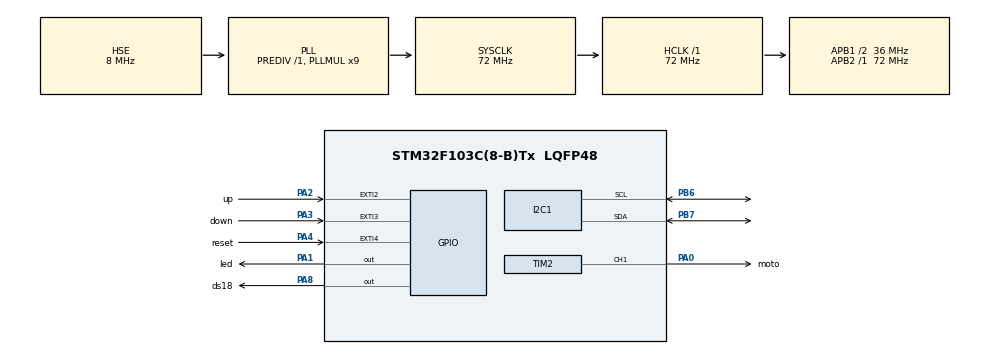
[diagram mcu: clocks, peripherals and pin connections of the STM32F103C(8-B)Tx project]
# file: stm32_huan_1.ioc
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Mcu.Family=STM32F1
Mcu.Name=STM32F103C(8-B)Tx
Mcu.Package=LQFP48
NVIC.EXTI2_IRQn=true\:0\:0\:false\:false\:true\:true\:true\:true
NVIC.EXTI3_IRQn=true\:0\:0\:false\:false\:true\:true\:true\:true
NVIC.EXTI4_IRQn=true\:0\:0\:false\:false\:true\:true\:true\:true
NVIC.PriorityGroup=NVIC_PRIORITYGROUP_4
PA0-WKUP.GPIO_Label=moto
PA0-WKUP.Signal=S_TIM2_CH1_ETR
PA1.GPIO_Label=led
PA1.Signal=GPIO_Output
PA13.Mode=Serial_Wire
PA13.Signal=SYS_JTMS-SWDIO
PA14.Mode=Serial_Wire
PA14.Signal=SYS_JTCK-SWCLK
PA2.GPIO_Label=up
PA2.Signal=GPXTI2
PA3.GPIO_Label=down
PA3.Signal=GPXTI3
PA4.GPIO_Label=reset
PA4.Signal=GPXTI4
PA8.GPIO_Label=ds18
PA8.Signal=GPIO_Output
PB6.Mode=I2C
PB6.Signal=I2C1_SCL
PB7.Mode=I2C
PB7.Signal=I2C1_SDA
PD0-OSC_IN.Mode=HSE-External-Oscillator
PD0-OSC_IN.Signal=RCC_OSC_IN
PD1-OSC_OUT.Mode=HSE-External-Oscillator
PD1-OSC_OUT.Signal=RCC_OSC_OUT
ProjectManager.HeapSize=0x200
ProjectManager.StackSize=0x400
ProjectManager.TargetToolchain=STM32CubeIDE
RCC.AHBFreq_Value=72000000
RCC.APB1CLKDivider=RCC_HCLK_DIV2
RCC.APB1Freq_Value=36000000
RCC.APB1TimFreq_Value=72000000
RCC.APB2Freq_Value=72000000
RCC.APB2TimFreq_Value=72000000
RCC.HCLKFreq_Value=72000000
RCC.PLLMUL=RCC_PLL_MUL9
RCC.PLLSourceVirtual=RCC_PLLSOURCE_HSE
RCC.SYSCLKFreq_VALUE=72000000
RCC.SYSCLKSource=RCC_SYSCLKSOURCE_PLLCLK
RCC.USBFreq_Value=72000000
SH.S_TIM2_CH1_ETR.0=TIM2_CH1,PWM Generation1 CH1
TIM1.Period=999
TIM1.Prescaler=71
TIM2.Channel-PWM\ Generation1\ CH1=TIM_CHANNEL_1
TIM2.Period=999
TIM2.Prescaler=71
VP_TIM1_VS_ClockSourceINT.Mode=Internal
board=custom

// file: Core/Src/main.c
#include "main.h"
#include"I2C_LCD.h"
//#include"ds18b20.h"
#include<stdio.h>

I2C_HandleTypeDef hi2c1;

TIM_HandleTypeDef htim1;
TIM_HandleTypeDef htim2;

void SystemClock_Config(void);
static void MX_GPIO_Init(void);
static void MX_I2C1_Init(void);
static void MX_TIM1_Init(void);
static void MX_TIM2_Init(void);
/* USER CODE BEGIN PFP */
void DWT_Delay_Init(void) {
    CoreDebug->DEMCR |= CoreDebug_DEMCR_TRCENA_Msk;
    DWT->CYCCNT = 0;
    DWT->CTRL |= DWT_CTRL_CYCCNTENA_Msk;
}

void DWT_Delay_us(uint32_t us) {
    uint32_t startTick = DWT->CYCCNT;
    uint32_t delayTicks = us * (SystemCoreClock / 1000000);
    while ((DWT->CYCCNT - startTick) < delayTicks);
}

void DS18B20_Pin_Output(void) {
    GPIO_InitTypeDef GPIO_InitStruct = {0};
    GPIO_InitStruct.Pin = ds18_Pin;
    GPIO_InitStruct.Mode = GPIO_MODE_OUTPUT_OD;
    GPIO_InitStruct.Speed = GPIO_SPEED_FREQ_LOW;
    HAL_GPIO_Init(ds18_GPIO_Port, &GPIO_InitStruct);
}

void DS18B20_Pin_Input(void) {
    GPIO_InitTypeDef GPIO_InitStruct = {0};
    GPIO_InitStruct.Pin = ds18_Pin;
    GPIO_InitStruct.Mode = GPIO_MODE_INPUT;
    GPIO_InitStruct.Pull = GPIO_NOPULL;
    HAL_GPIO_Init(ds18_GPIO_Port, &GPIO_InitStruct);
}

uint8_t DS18B20_Reset(void) {
    DS18B20_Pin_Output();
    HAL_GPIO_WritePin(ds18_GPIO_Port, ds18_Pin, GPIO_PIN_RESET);
    DWT_Delay_us(480);
    DS18B20_Pin_Input();
    DWT_Delay_us(70);
    uint8_t presence = HAL_GPIO_ReadPin(ds18_GPIO_Port, ds18_Pin);
    DWT_Delay_us(410);
    return presence == 0 ? 1 : 0;
}

void DS18B20_WriteBit(uint8_t bit) {
    DS18B20_Pin_Output();
    HAL_GPIO_WritePin(ds18_GPIO_Port, ds18_Pin, GPIO_PIN_RESET);
    DWT_Delay_us(2);
    if (bit) HAL_GPIO_WritePin(ds18_GPIO_Port, ds18_Pin, GPIO_PIN_SET);
    DWT_Delay_us(60);
    DS18B20_Pin_Input();
}

uint8_t DS18B20_ReadBit(void) {
    DS18B20_Pin_Output();
    HAL_GPIO_WritePin(ds18_GPIO_Port, ds18_Pin, GPIO_PIN_RESET);
    DWT_Delay_us(2);
    DS18B20_Pin_Input();
    DWT_Delay_us(10);
    uint8_t bit = HAL_GPIO_ReadPin(ds18_GPIO_Port, ds18_Pin);
    DWT_Delay_us(50);
    return bit;
}

void DS18B20_WriteByte(uint8_t data) {
    for (uint8_t i = 0; i < 8; i++) {
        DS18B20_WriteBit(data & 0x01);
        data >>= 1;
    }
}

uint8_t DS18B20_ReadByte(void) {
    uint8_t value = 0;
    for (uint8_t i = 0; i < 8; i++) {
        value >>= 1;
        if (DS18B20_ReadBit()) value |= 0x80;
    }
    return value;
}

float DS18B20_GetTemperature(void) {
    if (!DS18B20_Reset()) return -1000;
    DS18B20_WriteByte(0xCC);
    DS18B20_WriteByte(0x44);
    while (!DS18B20_ReadBit());
    if (!DS18B20_Reset()) return -1000;
    DS18B20_WriteByte(0xCC);
    DS18B20_WriteByte(0xBE);
    uint8_t temp_LSB = DS18B20_ReadByte();
    uint8_t temp_MSB = DS18B20_ReadByte();
    int16_t temp = (temp_MSB << 8) | temp_LSB;
    return temp / 16.0;
}

/* USER CODE END PFP */
volatile int temp_set = 25; // Giá trị nhiệt độ mục tiêu
/* USER CODE BEGIN 0 */
void Display_Temp(void) {
    char buffer[16];
    float temp = DS18B20_GetTemperature();
    if (temp != -1000) {
        sprintf(buffer, "Temp : %.2f C", temp);
    } else {
        sprintf(buffer, "Sensor Error!");
    }
    LCD_Clear();
    LCD_PutCursor(0, 0);
    LCD_SendString(buffer);
// in ra temp_set
    sprintf(buffer, "Temp Set : %d C", temp_set);
    LCD_PutCursor(1, 0);
    LCD_SendString(buffer);
}

void Read_Buttons() {
        if (HAL_GPIO_ReadPin(up_GPIO_Port, up_Pin) == 0) {
            temp_set++;
            Display_Temp();
        }

        if (HAL_GPIO_ReadPin(down_GPIO_Port, down_Pin) == 0) {
            temp_set--;
            Display_Temp();
        }
        if (HAL_GPIO_ReadPin(reset_GPIO_Port, reset_Pin) == 0) {
        	temp_set = 25;
        	Display_Temp();
        }
HAL_Delay(50);
}

/* USER CODE END 0 */

int main(void)
{

  HAL_Init();
  SystemClock_Config();
  MX_GPIO_Init();
  MX_I2C1_Init();
  MX_TIM1_Init();
  MX_TIM2_Init();
  /* USER CODE BEGIN 2 */
HAL_TIM_PWM_Start(&htim2, TIM_CHANNEL_1);
HAL_TIM_Base_Start(&htim1);
LCD_Init();
DWT_Delay_Init();

LCD_SendString("..INSTALLING.n......");
HAL_Delay(2000);
 LCD_Clear();
  /* USER CODE END 2 */
 float temp ;
  /* Infinite loop */
  /* USER CODE BEGIN WHILE */
 while (1) {
     Read_Buttons();

     temp = DS18B20_GetTemperature();
     Display_Temp(); // Hiển thị nhiệt độ lên LCD

     int fan_speed = (temp > temp_set + 5) ? 2 : (temp > temp_set ? 1 : 0);

     switch (fan_speed) {
         case 2: // Nhiệt độ cao (quá nóng)
             __HAL_TIM_SET_COMPARE(&htim2, TIM_CHANNEL_1,800); // Quạt chạy 100%
             HAL_GPIO_WritePin(led_GPIO_Port, led_Pin, GPIO_PIN_RESET); // Đèn tắt
             Display_Temp(); // Hiển thị nhiệt độ lên LCD
             break;

         case 1: // Nhiệt độ hơi cao
             __HAL_TIM_SET_COMPARE(&htim2, TIM_CHANNEL_1, 500); // Quạt chạy 50%
             HAL_GPIO_WritePin(led_GPIO_Port, led_Pin, GPIO_PIN_RESET); // Đèn bật
             Display_Temp(); // Hiển thị nhiệt độ lên LCD
             break;

         case 0: // Nhiệt độ bình thường
             __HAL_TIM_SET_COMPARE(&htim2, TIM_CHANNEL_1, 0); // Quạt tắt
             HAL_GPIO_WritePin(led_GPIO_Port, led_Pin, GPIO_PIN_SET); // Đèn bật
             Display_Temp(); // Hiển thị nhiệt độ lên LCD
             break;
     }
     HAL_Delay(500);
 }

  /* USER CODE END 3 */
}

void SystemClock_Config(void)
{
  RCC_OscInitTypeDef RCC_OscInitStruct = {0};
  RCC_ClkInitTypeDef RCC_ClkInitStruct = {0};

  /** Initializes the RCC Oscillators according to the specified parameters
  * in the RCC_OscInitTypeDef structure.
  */
  RCC_OscInitStruct.OscillatorType = RCC_OSCILLATORTYPE_HSE;
  RCC_OscInitStruct.HSEState = RCC_HSE_ON;
  RCC_OscInitStruct.HSEPredivValue = RCC_HSE_PREDIV_DIV1;
  RCC_OscInitStruct.HSIState = RCC_HSI_ON;
  RCC_OscInitStruct.PLL.PLLState = RCC_PLL_ON;
  RCC_OscInitStruct.PLL.PLLSource = RCC_PLLSOURCE_HSE;
  RCC_OscInitStruct.PLL.PLLMUL = RCC_PLL_MUL9;
  if (HAL_RCC_OscConfig(&RCC_OscInitStruct) != HAL_OK)
  {
    Error_Handler();
  }

  /** Initializes the CPU, AHB and APB buses clocks
  */
  RCC_ClkInitStruct.ClockType = RCC_CLOCKTYPE_HCLK|RCC_CLOCKTYPE_SYSCLK
                              |RCC_CLOCKTYPE_PCLK1|RCC_CLOCKTYPE_PCLK2;
  RCC_ClkInitStruct.SYSCLKSource = RCC_SYSCLKSOURCE_PLLCLK;
  RCC_ClkInitStruct.AHBCLKDivider = RCC_SYSCLK_DIV1;
  RCC_ClkInitStruct.APB1CLKDivider = RCC_HCLK_DIV2;
  RCC_ClkInitStruct.APB2CLKDivider = RCC_HCLK_DIV1;

  if (HAL_RCC_ClockConfig(&RCC_ClkInitStruct, FLASH_LATENCY_2) != HAL_OK)
  {
    Error_Handler();
  }
}

static void MX_I2C1_Init(void)
{

  hi2c1.Instance = I2C1;
  hi2c1.Init.ClockSpeed = 100000;
  hi2c1.Init.DutyCycle = I2C_DUTYCYCLE_2;
  hi2c1.Init.OwnAddress1 = 0;
  hi2c1.Init.AddressingMode = I2C_ADDRESSINGMODE_7BIT;
  hi2c1.Init.DualAddressMode = I2C_DUALADDRESS_DISABLE;
  hi2c1.Init.OwnAddress2 = 0;
  hi2c1.Init.GeneralCallMode = I2C_GENERALCALL_DISABLE;
  hi2c1.Init.NoStretchMode = I2C_NOSTRETCH_DISABLE;
  if (HAL_I2C_Init(&hi2c1) != HAL_OK)
  {
    Error_Handler();
  }

}

static void MX_TIM1_Init(void)
{

  TIM_ClockConfigTypeDef sClockSourceConfig = {0};
  TIM_MasterConfigTypeDef sMasterConfig = {0};

  htim1.Instance = TIM1;
  htim1.Init.Prescaler = 71;
  htim1.Init.CounterMode = TIM_COUNTERMODE_UP;
  htim1.Init.Period = 999;
  htim1.Init.ClockDivision = TIM_CLOCKDIVISION_DIV1;
  htim1.Init.RepetitionCounter = 0;
  htim1.Init.AutoReloadPreload = TIM_AUTORELOAD_PRELOAD_DISABLE;
  if (HAL_TIM_Base_Init(&htim1) != HAL_OK)
  {
    Error_Handler();
  }
  sClockSourceConfig.ClockSource = TIM_CLOCKSOURCE_INTERNAL;
  if (HAL_TIM_ConfigClockSource(&htim1, &sClockSourceConfig) != HAL_OK)
  {
    Error_Handler();
  }
  sMasterConfig.MasterOutputTrigger = TIM_TRGO_RESET;
  sMasterConfig.MasterSlaveMode = TIM_MASTERSLAVEMODE_DISABLE;
  if (HAL_TIMEx_MasterConfigSynchronization(&htim1, &sMasterConfig) != HAL_OK)
  {
    Error_Handler();
  }

}

static void MX_TIM2_Init(void)
{

  TIM_MasterConfigTypeDef sMasterConfig = {0};
  TIM_OC_InitTypeDef sConfigOC = {0};

  htim2.Instance = TIM2;
  htim2.Init.Prescaler = 71;
  htim2.Init.CounterMode = TIM_COUNTERMODE_UP;
  htim2.Init.Period = 999;
  htim2.Init.ClockDivision = TIM_CLOCKDIVISION_DIV1;
  htim2.Init.AutoReloadPreload = TIM_AUTORELOAD_PRELOAD_DISABLE;
  if (HAL_TIM_PWM_Init(&htim2) != HAL_OK)
  {
    Error_Handler();
  }
  sMasterConfig.MasterOutputTrigger = TIM_TRGO_RESET;
  sMasterConfig.MasterSlaveMode = TIM_MASTERSLAVEMODE_DISABLE;
  if (HAL_TIMEx_MasterConfigSynchronization(&htim2, &sMasterConfig) != HAL_OK)
  {
    Error_Handler();
  }
  sConfigOC.OCMode = TIM_OCMODE_PWM1;
  sConfigOC.Pulse = 0;
  sConfigOC.OCPolarity = TIM_OCPOLARITY_HIGH;
  sConfigOC.OCFastMode = TIM_OCFAST_DISABLE;
  if (HAL_TIM_PWM_ConfigChannel(&htim2, &sConfigOC, TIM_CHANNEL_1) != HAL_OK)
  {
    Error_Handler();
  }
  HAL_TIM_MspPostInit(&htim2);

}

static void MX_GPIO_Init(void)
{
  GPIO_InitTypeDef GPIO_InitStruct = {0};

  /* GPIO Ports Clock Enable */
  __HAL_RCC_GPIOD_CLK_ENABLE();
  __HAL_RCC_GPIOA_CLK_ENABLE();
  __HAL_RCC_GPIOB_CLK_ENABLE();

  /*Configure GPIO pin Output Level */
  HAL_GPIO_WritePin(GPIOA, led_Pin|ds18_Pin, GPIO_PIN_RESET);

  /*Configure GPIO pins : led_Pin ds18_Pin */
  GPIO_InitStruct.Pin = led_Pin|ds18_Pin;
  GPIO_InitStruct.Mode = GPIO_MODE_OUTPUT_PP;
  GPIO_InitStruct.Pull = GPIO_NOPULL;
  GPIO_InitStruct.Speed = GPIO_SPEED_FREQ_LOW;
  HAL_GPIO_Init(GPIOA, &GPIO_InitStruct);

  /*Configure GPIO pins : up_Pin down_Pin */
  /* Configure GPIO pins for buttons with Pull-Up */
  GPIO_InitStruct.Pin = up_Pin | down_Pin | reset_Pin;
  GPIO_InitStruct.Mode = GPIO_MODE_INPUT;  // Chuyển sang chế độ input thông thường
  GPIO_InitStruct.Pull = GPIO_NOPULL;      // Kích hoạt chế độ pull-up nội
  HAL_GPIO_Init(GPIOA, &GPIO_InitStruct);

}

void Error_Handler(void)
{
  __disable_irq();
  while (1)
  {
  }
}
